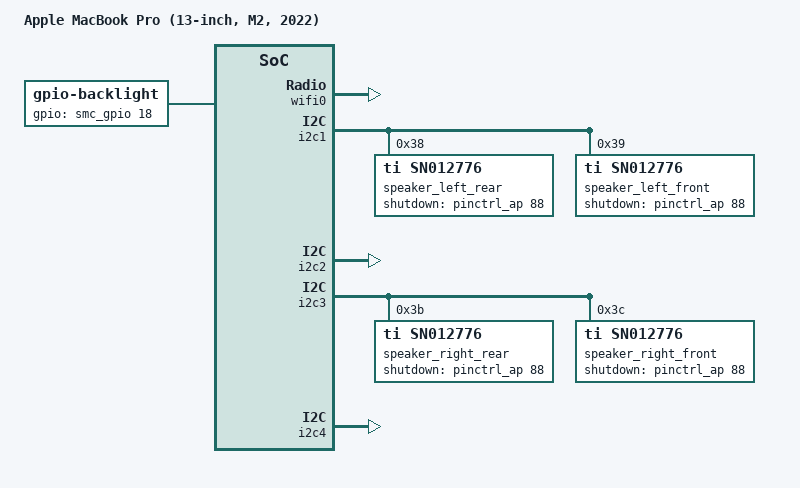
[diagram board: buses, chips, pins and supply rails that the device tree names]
// SPDX-License-Identifier: GPL-2.0+ OR MIT
/*
 * Apple MacBook Pro (13-inch, M1, 2022)
 *
 * target-type: J493
 *
 * Copyright The Asahi Linux Contributors
 */

/dts-v1/;

#include "t8112.dtsi"
#include "t8112-jxxx.dtsi"

/ {
	compatible = "apple,j493", "apple,t8112", "apple,arm-platform";
	model = "Apple MacBook Pro (13-inch, M2, 2022)";

	aliases {
		wifi0 = &wifi0;
		bluetooth0 = &bluetooth0;
	};
};

/*
 * Force the bus number assignments so that we can declare some of the
 * on-board devices and properties that are populated by the bootloader
 * (such as MAC addresses).
 */
&port00 {
	bus-range = <1 1>;
	pwren-gpios = <&smc_gpio 13 GPIO_ACTIVE_HIGH>;
	wifi0: network@0,0 {
		compatible = "pci14e4,4425";
		reg = <0x10000 0x0 0x0 0x0 0x0>;
		/* To be filled by the loader */
		local-mac-address = [00 00 00 00 00 00];
		apple,antenna-sku = "XX";
		brcm,board-type = "apple,kyushu";
	};

	bluetooth0: network@0,1 {
		compatible = "pci14e4,5f69";
		reg = <0x10100 0x0 0x0 0x0 0x0>;
		/* To be filled by the loader */
		local-bd-address = [00 00 00 00 00 00];
		brcm,board-type = "apple,kyushu";
	};
};

/*
 * Provide labels for the USB type C ports.
 */

&typec0 {
	label = "USB-C Left-back";
};

&typec1 {
	label = "USB-C Left-front";
};

/*
 * Remove unused PCIe ports and disable the associated DARTs.
 */

/delete-node/ &port01;
/delete-node/ &port02;
/delete-node/ &port03;

&i2c1 {
	speaker_left_rear: codec@38 {
		compatible = "ti,sn012776", "ti,tas2764";
		reg = <0x38>;
		shutdown-gpios = <&pinctrl_ap 88 GPIO_ACTIVE_HIGH>;
		#sound-dai-cells = <0>;
		sound-name-prefix = "Left Rear";
	};

	speaker_left_front: codec@39 {
		compatible = "ti,sn012776", "ti,tas2764";
		reg = <0x39>;
		shutdown-gpios = <&pinctrl_ap 88 GPIO_ACTIVE_HIGH>;
		#sound-dai-cells = <0>;
		sound-name-prefix = "Left Front";
	};
};

&i2c2 {
	status = "okay";
};

&i2c3 {
	speaker_right_rear: codec@3b {
		compatible = "ti,sn012776", "ti,tas2764";
		reg = <0x3b>;
		shutdown-gpios = <&pinctrl_ap 88 GPIO_ACTIVE_HIGH>;
		#sound-dai-cells = <0>;
		sound-name-prefix = "Right Rear";
	};

	speaker_right_front: codec@3c {
		compatible = "ti,sn012776", "ti,tas2764";
		reg = <0x3c>;
		shutdown-gpios = <&pinctrl_ap 88 GPIO_ACTIVE_HIGH>;
		#sound-dai-cells = <0>;
		sound-name-prefix = "Right Front";
	};
};

&i2c4 {
	status = "okay";
};

/ {
	backlight: gpio-bl {
		compatible = "gpio-backlight";
		gpios = <&smc_gpio 18 GPIO_ACTIVE_HIGH>;
		default-on;
	};

	sound {
		compatible = "apple,j493-macaudio", "apple,macaudio";
		model = "MacBook Pro J493 integrated audio";

		dai-link@0 {
			/*
			 * DANGER ZONE: You can blow your speakers!
			 *
			 * The drivers are not ready, and unless you are careful
			 * to attenuate the audio stream, you run the risk of
			 * blowing your speakers.
			 */
			status = "disabled";

			link-name = "Speakers";
			mclk-fs = <64>;

			cpu {
				sound-dai = <&mca 0>, <&mca 1>;
			};
			codec {
				sound-dai = <&speaker_left_front>, <&speaker_right_front>,
					<&speaker_left_rear>, <&speaker_right_rear>;
			};
		};
#if 0
		dai-link@1 {
			link-name = "Headphone Jack";
			mclk-fs = <64>;

			cpu {
				sound-dai = <&mca 2>;
			};
			codec {
				sound-dai = <&jack_codec>;
			};
		};
#endif
	};
};

&framebuffer0 {
	backlight = <&backlight>;
};

&mtp_hid {
	multi-touch {
		firmware-name = "apple/tpmtfw-j493.bin";
	};
};
